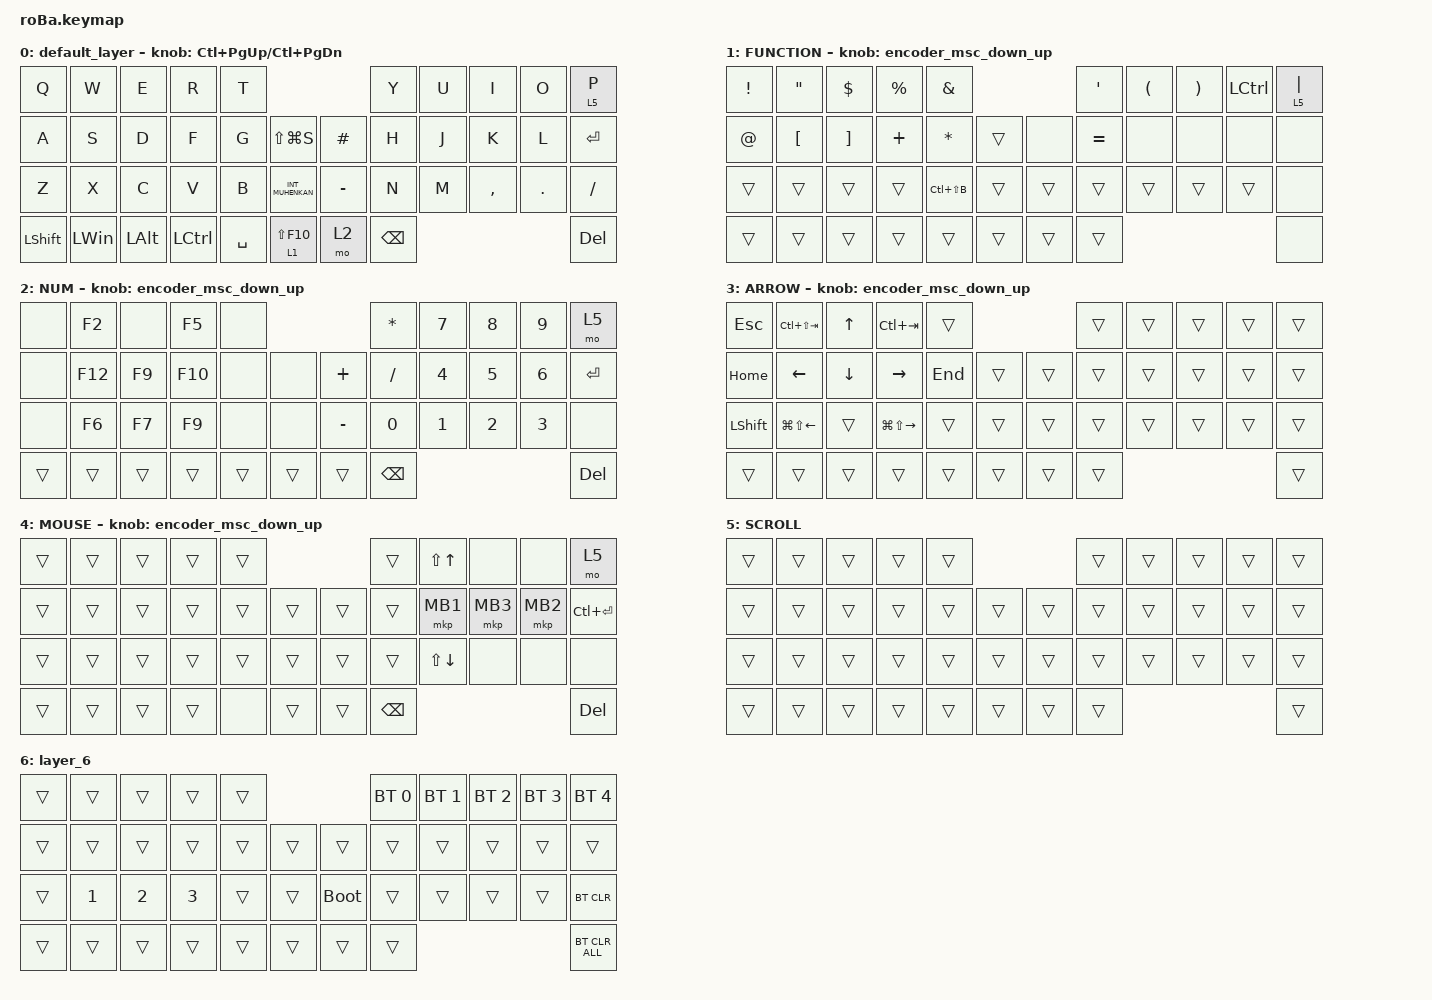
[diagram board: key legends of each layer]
#include <behaviors.dtsi>
#include <dt-bindings/zmk/bt.h>
#include <dt-bindings/zmk/keys.h>
#include <dt-bindings/zmk/pointing.h>

#define ZMK_POINTING_DEFAULT_SCRL_VAL 80

&mt {
    flavor = "balanced";
    quick-tap-ms = <0>;
};

&trackball {
    automouse-layer = <4>;
    scroll-layers = <5>;

    arrows {
        layers = <3>;
        bindings =
            <&kp RIGHT_ARROW>,
            <&kp LEFT_ARROW>,
            <&kp UP_ARROW>,
            <&kp DOWN_ARROW>;

        tick = <5>;
        wait-ms = <5>;
        tap-ms = <5>;
    };
};

/ {
    combos {
        compatible = "zmk,combos";

        tab {
            bindings = <&kp TAB>;
            key-positions = <1 0>;
        };

        muhennkann {
            bindings = <&kp LC(SPACE)>;
            key-positions = <2 1 0>;
        };

        left {
            bindings = <&kp LEFT_ARROW>;
            key-positions = <18 19>;
        };

        right {
            bindings = <&kp RIGHT_ARROW>;
            key-positions = <20 21>;
        };

        esc {
            bindings = <&kp ESCAPE>;
            key-positions = <0 1 2 3>;
        };

        up {
            bindings = <&kp UP_ARROW>;
            key-positions = <8 7>;
        };

        down {
            bindings = <&kp DOWN_ARROW>;
            key-positions = <19 20>;
        };

        pg_up {
            bindings = <&kp PAGE_UP>;
            key-positions = <31 30>;
        };

        pg_dn {
            bindings = <&kp PAGE_DOWN>;
            key-positions = <31 32>;
        };

        copy {
            bindings = <&kp LC(C)>;
            key-positions = <7 18>;
        };

        paste {
            bindings = <&kp LC(V)>;
            key-positions = <8 19>;
        };
    };

    macros {
        to_layer_0: to_layer_0 {
            compatible = "zmk,behavior-macro-one-param";
            #binding-cells = <1>;
            bindings = <&to 0 &macro_param_1to1 &kp MACRO_PLACEHOLDER>;
            label = "TO_LAYER_0";
        };
    };

    behaviors {
        lt_to_layer_0: lt_to_layer_0 {
            compatible = "zmk,behavior-hold-tap";
            label = "LAYER_TAP_TO_0";
            bindings = <&mo>, <&to_layer_0>;

            #binding-cells = <2>;
            tapping-term-ms = <200>;
        };

        encoder_msc_down_up: encoder_msc_down_up {
            compatible = "zmk,behavior-sensor-rotate";
            label = "ENCODER_MSC_DOWN_UP";
            #sensor-binding-cells = <0>;
            bindings = <&msc SCRL_DOWN>, <&msc SCRL_UP>;

            tap-ms = <20>;
        };
    };

    keymap {
        compatible = "zmk,keymap";

        default_layer {
            bindings = <
&kp Q           &kp W         &kp E         &kp R      &kp T                                       &kp Y          &kp U  &kp I      &kp O    &lt 5 P
&kp A           &kp S         &kp D         &kp F      &kp G      &kp LS(LG(S))         &kp HASH   &kp H          &kp J  &kp K      &kp L    &kp ENTER
&kp Z           &kp X         &kp C         &kp V      &kp B      &kp INT_MUHENKAN      &kp MINUS  &kp N          &kp M  &kp COMMA  &kp DOT  &kp SLASH
&kp LEFT_SHIFT  &kp LEFT_WIN  &kp LEFT_ALT  &kp LCTRL  &kp SPACE  &lt 1 LS(F10)         &mo 2      &kp BACKSPACE                             &kp DEL
            >;

            sensor-bindings = <&inc_dec_kp LC(PAGE_UP) LC(PAGE_DOWN)>;
        };

        FUNCTION {
            bindings = <
&kp EXCLAMATION  &kp DOUBLE_QUOTES  &kp DOLLAR         &kp PERCENT  &kp AMPERSAND                      &kp SQT    &kp LEFT_PARENTHESIS  &kp RIGHT_PARENTHESIS  &kp LCTRL  &lt 5 PIPE
&kp AT_SIGN      &kp LEFT_BRACKET   &kp RIGHT_BRACKET  &kp PLUS     &kp ASTERISK   &trans      &none   &kp EQUAL  &none                 &none                  &none      &none
&trans           &trans             &trans             &trans       &kp LC(LS(B))  &trans      &trans  &trans     &trans                &trans                 &trans     &none
&trans           &trans             &trans             &trans       &trans         &trans      &trans  &trans                                                             &none
            >;

            sensor-bindings = <&encoder_msc_down_up>;
        };

        NUM {
            bindings = <
&none   &kp F2   &none   &kp F5   &none                          &kp ASTERISK   &kp NUMBER_7  &kp NUMBER_8  &kp NUMBER_9  &mo 5
&none   &kp F12  &kp F9  &kp F10  &none   &none       &kp PLUS   &kp SLASH      &kp NUMBER_4  &kp NUMBER_5  &kp NUMBER_6  &kp ENTER
&none   &kp F6   &kp F7  &kp F9   &none   &none       &kp MINUS  &kp NUMBER_0   &kp NUMBER_1  &kp NUMBER_2  &kp NUMBER_3  &none
&trans  &trans   &trans  &trans   &trans  &trans      &trans     &kp BACKSPACE                                            &kp DELETE
            >;

            sensor-bindings = <&encoder_msc_down_up>;
        };

        ARROW {
            bindings = <
&kp ESCAPE      &kp LC(LS(TAB))         &kp UP_ARROW    &kp LC(TAB)              &trans                       &trans  &trans  &trans  &trans  &trans
&kp HOME        &kp LEFT_ARROW          &kp DOWN_ARROW  &kp RIGHT_ARROW          &kp END  &trans      &trans  &trans  &trans  &trans  &trans  &trans
&kp LEFT_SHIFT  &kp LG(LS(LEFT_ARROW))  &trans          &kp LG(LS(RIGHT_ARROW))  &trans   &trans      &trans  &trans  &trans  &trans  &trans  &trans
&trans          &trans                  &trans          &trans                   &trans   &trans      &trans  &trans                          &trans
            >;

            sensor-bindings = <&encoder_msc_down_up>;
        };

        MOUSE {
            bindings = <
&trans  &trans  &trans  &trans  &trans                      &trans         &kp LS(UP_ARROW)    &none     &none     &mo 5
&trans  &trans  &trans  &trans  &trans  &trans      &trans  &trans         &mkp MB1            &mkp MB3  &mkp MB2  &kp LC(ENTER)
&trans  &trans  &trans  &trans  &trans  &trans      &trans  &trans         &kp LS(DOWN_ARROW)  &none     &none     &none
&trans  &trans  &trans  &trans  &none   &trans      &trans  &kp BACKSPACE                                          &kp DELETE
            >;

            sensor-bindings = <&encoder_msc_down_up>;
        };

        SCROLL {
            bindings = <
&trans  &trans  &trans  &trans  &trans                      &trans  &trans  &trans  &trans  &trans
&trans  &trans  &trans  &trans  &trans  &trans      &trans  &trans  &trans  &trans  &trans  &trans
&trans  &trans  &trans  &trans  &trans  &trans      &trans  &trans  &trans  &trans  &trans  &trans
&trans  &trans  &trans  &trans  &trans  &trans      &trans  &trans                          &trans
            >;
        };

        layer_6 {
            bindings = <
&trans  &trans        &trans        &trans        &trans                           &bt BT_SEL 0  &bt BT_SEL 1  &bt BT_SEL 2  &bt BT_SEL 3  &bt BT_SEL 4
&trans  &trans        &trans        &trans        &trans  &trans      &trans       &trans        &trans        &trans        &trans        &trans
&trans  &kp NUMBER_1  &kp NUMBER_2  &kp NUMBER_3  &trans  &trans      &bootloader  &trans        &trans        &trans        &trans        &bt BT_CLR
&trans  &trans        &trans        &trans        &trans  &trans      &trans       &trans                                                  &bt BT_CLR_ALL
            >;
        };
    };
};
